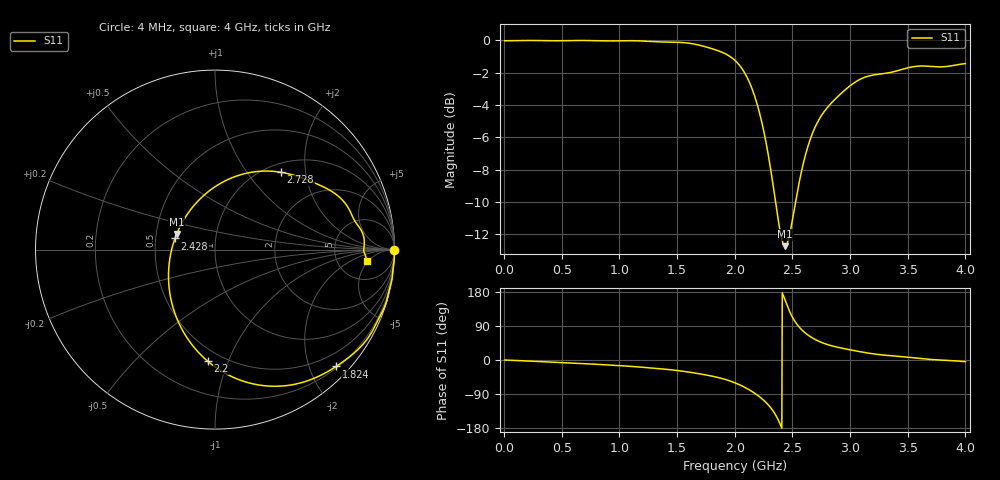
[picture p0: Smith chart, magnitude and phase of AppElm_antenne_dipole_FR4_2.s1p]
! TOUCHSTONE file generated by CST MICROWAVE STUDIO
! Date and time: Thu May 12 14:29:58 2022
! Project name: AppElm_antenne_dipole_FR4.cst
! Parameters = {L=38.8; e=0.035; f=2.45e+09; h=1.6; i=0.64; l1=4; lambda=122.449; ls=30; wl=1.7; ws=80}
! Header version: 2018
! Port assignment regex: !\s*Touchstone port\s*([0-9]+)\s*=\s*(CST MWS port|CST DS port)\s*([0-9]+|Zmin|Zmax)\s*\(\"(.*)\"\)(\s*mode\s*([0-9]+))?.*
! Touchstone port assignment:
! Touchstone port 1 = CST MWS port 1 ("")
# GHz S MA R 50
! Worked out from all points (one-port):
!   1000 points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, 4 MHz to 4 GHz, reference 50 ohm
!   lowest |S11| = -12.7 dB at 2.436 GHz (marker M1), VSWR 1.60, Z = 32 + j5.83 ohm
!   |S11| at or under -10 dB: 2.354 GHz to 2.528 GHz (174 MHz wide, 7.13 % of centre)
!   S11 on the Smith chart (normalised r, x): 4 MHz: open; 1.824 GHz: 0.23, -2.46; 2.2 GHz: 0.42, -0.85; 2.428 GHz: 0.63, +0.08; 2.728 GHz: 1.16, +1.47; 4 GHz: 10, -5
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0.004  0.9978 -0.0
0.504  0.998 -6.7
1.004  0.9974 -14.8
1.504  0.987 -27.8
1.664  0.972 -34.9
1.824  0.9376 -44.0
1.92  0.9086 -51.5
2.004  0.866 -60.5
2.108  0.7671 -75.6
2.156  0.6989 -84.4
2.2  0.6239 -93.6
2.264  0.4977 -110.1
2.32  0.3811 -129.3
2.372  0.2852 -155.0
2.428  0.2314 164.5
2.436  0.2305 158.0
2.464  0.2407 136.2
2.504  0.2831 110.8
2.556  0.359 87.9
2.608  0.4349 72.2
2.664  0.5048 59.9
2.728  0.5667 49.5
2.836  0.639 37.8
3.004  0.7254 26.7
3.172  0.7777 17.5
3.504  0.8231 7.2
3.692  0.8312 1.6
4  0.8476 -4.4
